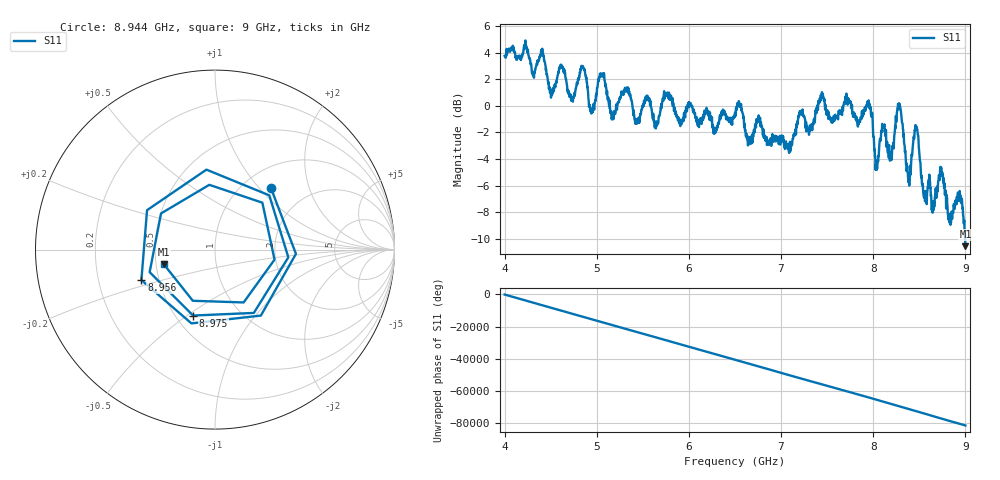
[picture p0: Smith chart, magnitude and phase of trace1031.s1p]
! Created with skrf 1.8.0 (http://scikit-rf.org).
# Hz S RI R 50.0
!freq ReS11 ImS11
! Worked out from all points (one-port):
!   1601 points, 4 GHz to 9 GHz, reference 50 ohm
!   lowest |S11| = -10.5 dB at 9 GHz (marker M1), VSWR 1.85, Z = 27.5 - j4.88 ohm
!   |S11| at or under -10 dB: 8.996303 GHz to end of sweep
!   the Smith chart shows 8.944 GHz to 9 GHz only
!   S11 on the Smith chart (normalised r, x): 8.944 GHz: 1.33, +1.16; 8.956 GHz: 0.40, -0.17; 8.975 GHz: 0.61, -0.53; 9 GHz: 0.55, -0.10
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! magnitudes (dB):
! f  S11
! 4 GHz  3.7
! 4.403 GHz  3.9
! 4.509 GHz  1.1
! 4.625 GHz  3.0
! 4.728 GHz  0.7
! 4.85 GHz  2.9
! 4.947 GHz  -0.4
! 5.056 GHz  2.3
! 5.166 GHz  -0.8
! 5.25 GHz  0.5
! 5.875 GHz  -0.8
! 6.5 GHz  -0.5
! 7.125 GHz  -2.5
! 7.438 GHz  0.8
! 7.75 GHz  0.3
! 7.966 GHz  0.0
! 8.038 GHz  -4.8
! 8.112 GHz  -1.6
! 8.2 GHz  -3.7
! 8.281 GHz  0.2
! 8.375 GHz  -5.0
! 8.466 GHz  -1.6
! 8.559 GHz  -6.4
! 8.738 GHz  -4.6
! 8.944 GHz  -6.7
! 8.956 GHz  -7.1
! 8.975 GHz  -8.2
! 9 GHz  -10.5
